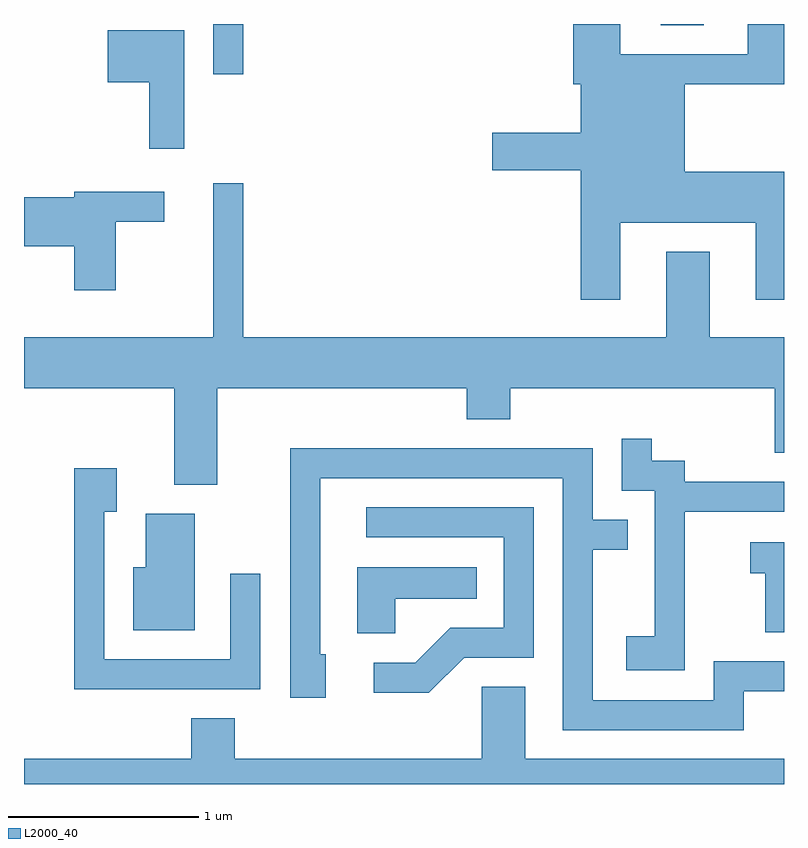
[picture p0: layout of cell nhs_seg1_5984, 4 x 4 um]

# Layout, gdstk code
import gdstk
lib = gdstk.Library(unit=1e-6, precision=1e-09)
def R(c, l, rs):  # rectangles x0, y0, x1, y1
    for r in rs: c.add(gdstk.rectangle(r[:2], r[2:], *l))
def P(c, l, *ps):  # polygons
    for p in ps: c.add(gdstk.Polygon(p, *l))
L2000_40 = (2000, 40)

nhs_seg1_5984 = lib.new_cell('nhs_seg1_5984')
R(nhs_seg1_5984, L2000_40, [(366.606,903.448,366.764,903.712), (368.961,903.706,369.189,903.712)])
P(nhs_seg1_5984, L2000_40, [(368.749,902.666),(369.461,902.666),(369.461,902.261),(369.611,902.261),(369.611,902.934),(369.089,902.934),(369.089,903.396),(369.611,903.396),(369.611,903.712),(369.421,903.712),(369.421,903.554),(368.749,903.554),(368.749,903.712),(368.501,903.712),(368.501,903.396),(368.541,903.396),(368.541,903.139),(368.076,903.139),(368.076,902.941),(368.541,902.941),(368.541,902.261),(368.749,902.261)],
  [(366.454,903.679),(366.051,903.679),(366.051,903.406),(366.271,903.406),(366.271,903.056),(366.454,903.056)],
  [(366.629,901.796),(367.941,901.796),(367.941,901.631),(368.169,901.631),(368.169,901.796),(369.561,901.796),(369.561,901.456),(369.611,901.456),(369.611,902.064),(369.219,902.064),(369.219,902.514),(368.991,902.514),(368.991,902.064),(366.764,902.064),(366.764,902.873),(366.606,902.873),(366.606,902.064),(365.611,902.064),(365.611,901.796),(366.401,901.796),(366.401,901.286),(366.629,901.286)],
  [(366.094,902.671),(366.348,902.671),(366.348,902.829),(365.876,902.829),(365.876,902.799),(365.611,902.799),(365.611,902.541),(365.876,902.541),(365.876,902.311),(366.094,902.311)],
  [(369.089,901.146),(369.611,901.146),(369.611,901.304),(369.089,901.304),(369.089,901.414),(368.914,901.414),(368.914,901.528),(368.756,901.528),(368.756,901.256),(368.931,901.256),(368.931,900.489),(368.781,900.489),(368.781,900.311),(369.089,900.311)],
  [(369.399,900.201),(369.611,900.201),(369.611,900.359),(369.241,900.359),(369.241,900.154),(368.604,900.154),(368.604,900.946),(368.788,900.946),(368.788,901.104),(368.604,901.104),(368.604,901.479),(367.011,901.479),(367.011,900.166),(367.199,900.166),(367.199,900.394),(367.169,900.394),(367.169,901.321),(368.446,901.321),(368.446,899.996),(369.399,899.996)],
  [(366.854,900.818),(366.696,900.818),(366.696,900.369),(366.034,900.369),(366.034,901.146),(366.099,901.146),(366.099,901.374),(365.876,901.374),(365.876,900.211),(366.854,900.211)],
  [(367.927,900.376),(368.294,900.376),(368.294,901.169),(367.413,901.169),(367.413,901.011),(368.136,901.011),(368.136,900.534),(367.854,900.534),(367.669,900.349),(367.453,900.349),(367.453,900.191),(367.742,900.191)],
  [(366.509,901.134),(366.251,901.134),(366.251,900.854),(366.186,900.854),(366.186,900.521),(366.509,900.521)],
  [(369.611,900.984),(369.433,900.984),(369.433,900.821),(369.511,900.821),(369.511,900.511),(369.611,900.511)],
  [(367.564,900.686),(367.993,900.686),(367.993,900.854),(367.366,900.854),(367.366,900.506),(367.564,900.506)],
  [(369.611,899.844),(368.249,899.844),(368.249,900.224),(368.021,900.224),(368.021,899.844),(366.719,899.844),(366.719,900.059),(366.491,900.059),(366.491,899.844),(365.611,899.844),(365.611,899.712),(369.611,899.712)])

lib.write_gds('nhs_seg1_5984.gds')
